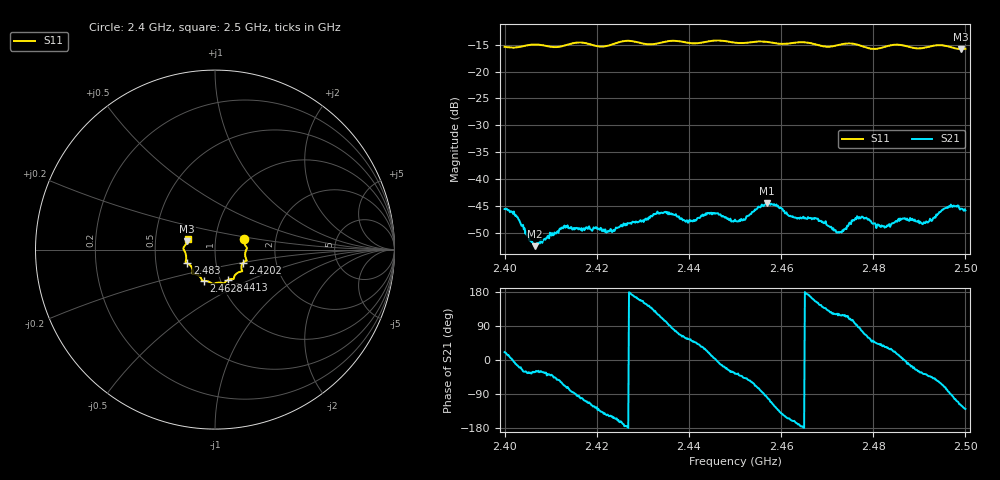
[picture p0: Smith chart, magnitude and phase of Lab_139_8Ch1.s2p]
# Hz S RI R 50
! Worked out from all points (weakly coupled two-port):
!   601 points, 2.4 GHz to 2.5 GHz, reference 50 ohm
!   highest |S21| = -44.51 dB at 2.457 GHz (marker M1); lowest = -52.5 dB at 2.4065 GHz (marker M2)
!   lowest |S11| = -15.8 dB at 2.499 GHz (marker M3), VSWR 1.39, Z = 36.4 + j3.38 ohm
!   |S11| at or under -10 dB: start of sweep to end of sweep
!   S12 and S22 are empty: the file has one direction only
!   S11 on the Smith chart (normalised r, x): 2.4 GHz: 1.37, +0.16; 2.4202 GHz: 1.35, -0.20; 2.4413 GHz: 1.09, -0.38; 2.4628 GHz: 0.83, -0.30; 2.483 GHz: 0.72, -0.11; 2.5 GHz: 0.73, +0.09
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2.4e9  0.1606 0.0573  0.00491 0.00187  0 0  0 0
2.4025e9  0.1654 0.0302  0.00451 -0.000867  0 0  0 0
2.4065e9  0.1787 0.00858  0.00202 -0.00124  0 0  0 0
2.412833e9  0.1694 -0.0409  0.00142 -0.00333  0 0  0 0
2.416667e9  0.1762 -0.0614  -0.000627 -0.00343  0 0  0 0
2.420167e9  0.1564 -0.0727  -0.00233 -0.0026  0 0  0 0
2.423333e9  0.1472 -0.1023  -0.00274 -0.00165  0 0  0 0
2.433333e9  0.1081 -0.1486  -0.00235 0.00415  0 0  0 0
2.441333e9  0.0745 -0.1679  0.00282 0.00303  0 0  0 0
2.445667e9  0.0509 -0.188  0.00475 0.000272  0 0  0 0
2.45e9  0.0293 -0.1838  0.00337 -0.00248  0 0  0 0
2.457e9  -0.0167 -0.1885  -0.000998 -0.00586  0 0  0 0
2.462833e9  -0.0631 -0.1746  -0.00413 -0.00146  0 0  0 0
2.466667e9  -0.0743 -0.1674  -0.00403 0.00123  0 0  0 0
2.4725e9  -0.1148 -0.135  -0.00166 0.00268  0 0  0 0
2.477e9  -0.1245 -0.1245  0.000342 0.00441  0 0  0 0
2.483e9  -0.1546 -0.0766  0.00312 0.00197  0 0  0 0
2.483333e9  -0.1568 -0.0756  0.00324 0.00186  0 0  0 0
2.491167e9  -0.1661 -0.0151  0.00313 -0.00234  0 0  0 0
2.4965e9  -0.1696 0.0196  0.000466 -0.00557  0 0  0 0
2.499e9  -0.1555 0.0452  -0.00255 -0.00464  0 0  0 0
2.5e9  -0.1525 0.0585  -0.00323 -0.00394  0 0  0 0
